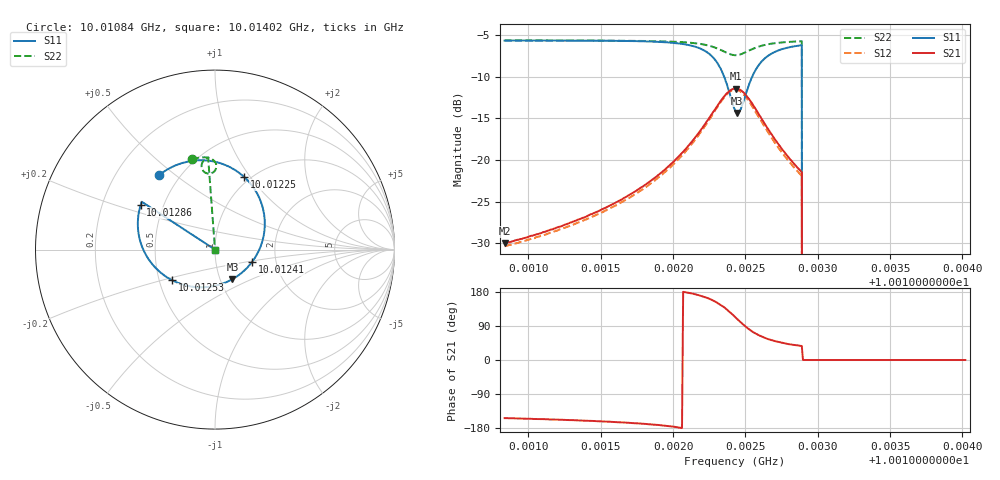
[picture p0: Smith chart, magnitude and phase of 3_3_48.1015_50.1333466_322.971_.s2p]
#  HZ  S  RI  R  50.00
! Rohde & Schwarz Vector Network Analyzer
! Rohde-Schwarz,ZNB20-2Port,1311601062101988,3.16
! Created: UTC 12/23/2023, 3:34:51 AM
! freq[Hz]  re:S11  im:S11  re:S21  im:S21  re:S12  im:S12  re:S22  im:S22
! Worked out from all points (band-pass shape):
!   401 points, 10.01084 GHz to 10.01402 GHz, reference 50 ohm
!   highest |S21| = -11.43 dB at 10.01244 GHz (marker M1); lowest = -30.0 dB at 10.01084 GHz (marker M2)
!   |S21| within 3 dB of the highest: 10.01227 GHz to 10.01259 GHz (319.7 kHz wide, 0.00319 % of centre)
!   lowest |S11| = -14.4 dB at 10.01244 GHz (marker M3), VSWR 1.47, Z = 57.2 - j19.6 ohm
!   |S11| at or under -10 dB: 10.01235 GHz to 10.01255 GHz (195 kHz wide, 0.00195 % of centre); 10.01289 GHz to end of sweep
!   |S22| runs from - to -5.7 dB; largest |S21 - S12| = 0.013
!   S11 on the Smith chart (normalised r, x): 10.01084 GHz: 0.39, +0.44; 10.01225 GHz: 0.94, +0.94; 10.01241 GHz: 1.50, -0.22; 10.01253 GHz: 0.59, -0.22; 10.01286 GHz: 0.37, +0.24; 10.01402 GHz: 1.00, +0.00
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1.0010836e10  -0.3101 0.4168  -0.0283 -0.0142  -0.0264 -0.0152  -0.1278 0.5041
1.0011369e10  -0.2514 0.4541  -0.042 -0.0153  -0.0395 -0.0169  -0.0901 0.5118
1.0011903e10  -0.1232 0.495  -0.0809 -0.0119  -0.0775 -0.0155  -0.0436 0.5131
1.0012126e10  0.0206 0.4841  -0.1271 0.00868  -0.1237 0.00168  -0.0152 0.5035
1.0012245e10  0.1624 0.4048  -0.1678 0.0527  -0.1666 0.0423  0.00242 0.4849
1.0012301e10  0.2376 0.3068  -0.1834 0.0972  -0.1853 0.0858  0.0074 0.4676
1.0012349e10  0.2769 0.165  -0.1831 0.1519  -0.1868 0.1416  0.00415 0.448
1.0012412e10  0.2055 -0.0704  -0.1312 0.2313  -0.1372 0.2235  -0.0197 0.4255
1.0012428e10  0.1568 -0.1226  -0.1077 0.2454  -0.1132 0.2385  -0.0287 0.4233
1.0012436e10  0.128 -0.1454  -0.0949 0.2507  -0.1017 0.2434  -0.0328 0.4232
1.0012444e10  0.0974 -0.1649  -0.0818 0.2548  -0.0877 0.2477  -0.0377 0.4234
1.0012484e10  -0.0668 -0.2101  -0.0179 0.2547  -0.0228 0.2479  -0.0585 0.4316
1.0012532e10  -0.2381 -0.171  0.0425 0.2236  0.0354 0.2174  -0.0719 0.4496
1.001258e10  -0.3465 -0.0849  0.0734 0.1819  0.0664 0.176  -0.075 0.4681
1.0012643e10  -0.4112 0.0297  0.0872 0.1343  0.0789 0.1308  -0.0699 0.4861
1.0012739e10  -0.4298 0.1552  0.083 0.0879  0.0761 0.0863  -0.0573 0.5017
1.0012858e10  -0.4138 0.2494  0.0704 0.0564  0.0649 0.0564  -0.042 0.5114
1.0012874e10  -0.411 0.2585  0.069 0.0533  0.0634 0.0535  -0.0402 0.5122
1.0012914e10  0 0  0 0  0 0  0 0
1.0012962e10  0 0  0 0  0 0  0 0
1.0013495e10  0 0  0 0  0 0  0 0
1.0014021e10  0 0  0 0  0 0  0 0
